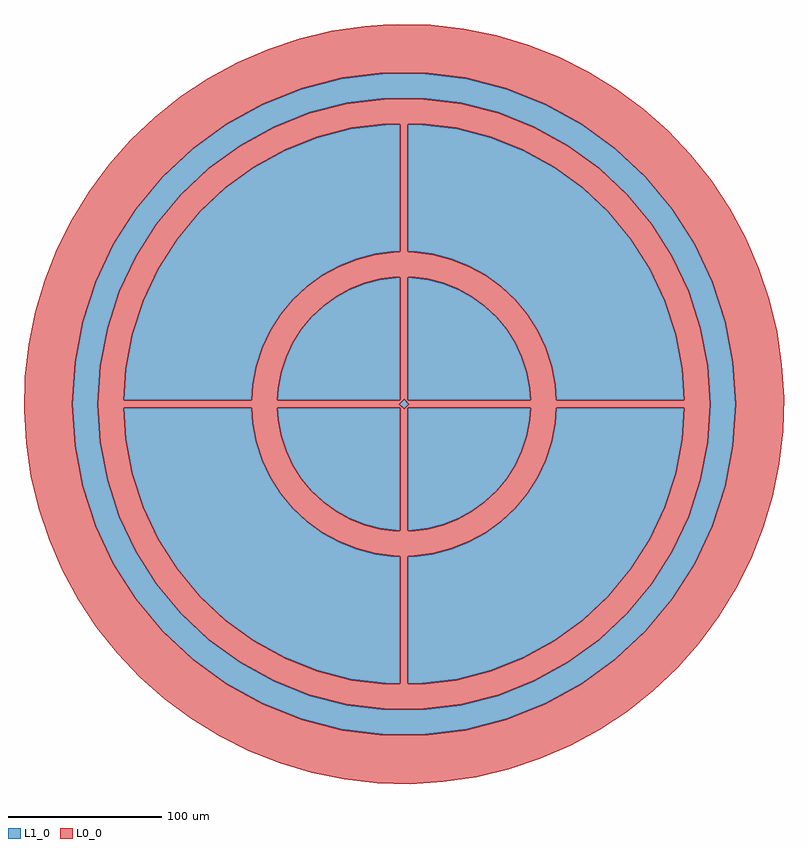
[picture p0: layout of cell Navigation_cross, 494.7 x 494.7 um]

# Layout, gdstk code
import gdstk
lib = gdstk.Library(unit=1e-6, precision=1e-09)
def P(c, l, *ps):  # polygons
    for p in ps: c.add(gdstk.Polygon(p, *l))
L0_0 = (0, 0)
L1_0 = (1, 0)

navigation_cross = lib.new_cell('Navigation_cross')
P(navigation_cross, L0_0, [(-4.161,247.351),(-13.55,246.783),(-13.55,215.374),(13.55,215.374),(40.437,211.978),(66.686,205.238),(91.883,195.262),(115.631,182.206),(137.556,166.277),(157.311,147.725),(174.586,126.844),(189.107,103.962),(200.646,79.441),(209.02,53.667),(214.098,27.047),(215.8,0),(214.098,-27.047),(209.02,-53.667),(200.646,-79.441),(189.107,-103.962),(174.586,-126.844),(157.311,-147.725),(137.556,-166.277),(115.631,-182.206),(91.883,-195.262),(66.686,-205.238),(40.437,-211.978),(13.55,-215.374),(-13.55,-215.374),(-40.437,-211.978),(-66.686,-205.238),(-91.883,-195.262),(-115.631,-182.206),(-137.556,-166.277),(-157.311,-147.725),(-174.586,-126.844),(-189.107,-103.962),(-200.646,-79.441),(-209.02,-53.667),(-214.098,-27.047),(-215.8,0),(-214.098,27.047),(-209.02,53.667),(-200.646,79.441),(-189.107,103.962),(-174.586,126.844),(-157.311,147.725),(-137.556,166.277),(-115.631,182.206),(-91.883,195.262),(-66.686,205.238),(-40.437,211.978),(-13.55,215.374),(-13.55,246.783),(-25.703,246.047),(-47.05,242.871),(-68.038,237.846),(-88.509,231.011),(-108.306,222.418),(-127.279,212.132),(-145.283,200.232),(-162.182,186.807),(-177.846,171.962),(-192.157,155.807),(-205.005,138.466),(-216.293,120.072),(-225.935,100.764),(-233.857,80.689),(-240,60),(-244.316,38.854),(-246.773,17.413),(-247.351,-4.161),(-246.047,-25.703),(-242.871,-47.05),(-237.846,-68.038),(-231.011,-88.509),(-222.418,-108.306),(-212.132,-127.279),(-200.232,-145.283),(-186.807,-162.182),(-171.962,-177.846),(-155.807,-192.157),(-138.466,-205.005),(-120.072,-216.293),(-100.764,-225.935),(-80.689,-233.857),(-60,-240),(-38.854,-244.316),(-17.413,-246.773),(4.161,-247.351),(25.703,-246.047),(47.05,-242.871),(68.038,-237.846),(88.509,-231.011),(108.306,-222.418),(127.279,-212.132),(145.283,-200.232),(162.182,-186.807),(177.846,-171.962),(192.157,-155.807),(205.005,-138.466),(216.293,-120.072),(225.935,-100.764),(233.857,-80.689),(240,-60),(244.316,-38.854),(246.773,-17.413),(247.351,4.161),(246.047,25.703),(242.871,47.05),(237.846,68.038),(231.011,88.509),(222.418,108.306),(212.132,127.279),(200.232,145.283),(186.807,162.182),(171.962,177.846),(155.807,192.157),(138.466,205.005),(120.072,216.293),(100.764,225.935),(80.689,233.857),(60,240),(38.854,244.316),(17.413,246.773)],
  [(12.508,198.807),(2.3,198.807),(2.3,182.24),(11.466,182.24),(34.216,179.366),(56.427,173.663),(77.747,165.221),(97.842,154.174),(116.394,140.696),(133.11,124.998),(147.727,107.33),(160.014,87.968),(169.777,67.22),(176.863,45.411),(181.16,22.886),(182.455,2.3),(99.055,2.3),(99.055,-2.3),(182.455,-2.3),(181.16,-22.886),(176.863,-45.411),(169.777,-67.22),(160.014,-87.968),(147.727,-107.33),(133.11,-124.998),(116.394,-140.696),(97.842,-154.174),(77.747,-165.221),(56.427,-173.663),(34.216,-179.366),(11.466,-182.24),(2.3,-182.24),(2.3,-99.004),(6.229,-99.004),(18.588,-97.443),(30.654,-94.345),(42.237,-89.759),(53.154,-83.757),(63.232,-76.435),(72.314,-67.907),(80.254,-58.308),(86.93,-47.79),(92.234,-36.518),(96.083,-24.67),(98.418,-12.433),(99.055,-2.3),(99.055,2.3),(98.418,12.433),(96.083,24.67),(92.234,36.518),(86.93,47.79),(80.254,58.308),(72.314,67.907),(63.232,76.435),(53.154,83.757),(42.237,89.759),(30.654,94.345),(18.588,97.443),(6.229,99.004),(2.3,99.004),(2.3,82.437),(5.186,82.437),(15.478,81.137),(25.525,78.557),(35.169,74.739),(44.259,69.741),(52.651,63.644),(60.213,56.544),(66.825,48.551),(72.383,39.793),(76.8,30.407),(80.005,20.542),(81.949,10.353),(82.455,2.3),(2.3,2.3),(2.3,198.807),(0,198.807),(0,3.253),(3.253,0),(2.3,-0.953),(2.3,-2.3),(82.455,-2.3),(81.949,-10.353),(80.005,-20.542),(76.8,-30.407),(72.383,-39.793),(66.825,-48.551),(60.213,-56.544),(52.651,-63.644),(44.259,-69.741),(35.169,-74.739),(25.525,-78.557),(15.478,-81.137),(5.186,-82.437),(2.3,-82.437),(2.3,-0.953),(0,-3.253),(-3.253,0),(0,3.253),(0,198.807),(-11.466,198.807),(-11.466,182.24),(-2.3,182.24),(-2.3,99.004),(-5.186,99.004),(-5.186,82.437),(-2.3,82.437),(-2.3,2.3),(-82.455,2.3),(-82.455,-2.3),(-2.3,-2.3),(-2.3,-82.437),(-5.186,-82.437),(-15.478,-81.137),(-25.525,-78.557),(-35.169,-74.739),(-44.259,-69.741),(-52.651,-63.644),(-60.213,-56.544),(-66.825,-48.551),(-72.383,-39.793),(-76.8,-30.407),(-80.005,-20.542),(-81.949,-10.353),(-82.455,-2.3),(-82.455,2.3),(-81.949,10.353),(-80.005,20.542),(-76.8,30.407),(-72.383,39.793),(-66.825,48.551),(-60.213,56.544),(-52.651,63.644),(-44.259,69.741),(-35.169,74.739),(-25.525,78.557),(-15.478,81.137),(-5.186,82.437),(-5.186,99.004),(-6.229,99.004),(-18.588,97.443),(-30.654,94.345),(-42.237,89.759),(-53.154,83.757),(-63.232,76.435),(-72.314,67.907),(-80.254,58.308),(-86.93,47.79),(-92.234,36.518),(-96.083,24.67),(-98.418,12.433),(-99.055,2.3),(-182.455,2.3),(-182.455,-2.3),(-99.055,-2.3),(-98.418,-12.433),(-96.083,-24.67),(-92.234,-36.518),(-86.93,-47.79),(-80.254,-58.308),(-72.314,-67.907),(-63.232,-76.435),(-53.154,-83.757),(-42.237,-89.759),(-30.654,-94.345),(-18.588,-97.443),(-6.229,-99.004),(-2.3,-99.004),(-2.3,-182.24),(-11.466,-182.24),(-34.216,-179.366),(-56.427,-173.663),(-77.747,-165.221),(-97.842,-154.174),(-116.394,-140.696),(-133.11,-124.998),(-147.727,-107.33),(-160.014,-87.968),(-169.777,-67.22),(-176.863,-45.411),(-181.16,-22.886),(-182.455,-2.3),(-182.455,2.3),(-181.16,22.886),(-176.863,45.411),(-169.777,67.22),(-160.014,87.968),(-147.727,107.33),(-133.11,124.998),(-116.394,140.696),(-97.842,154.174),(-77.747,165.221),(-56.427,173.663),(-34.216,179.366),(-11.466,182.24),(-11.466,198.807),(-12.508,198.807),(-37.326,195.672),(-61.556,189.45),(-84.815,180.242),(-106.737,168.19),(-126.975,153.486),(-145.211,136.362),(-161.156,117.087),(-174.56,95.965),(-185.211,73.33),(-192.942,49.539),(-197.629,24.966),(-199.2,0),(-197.629,-24.966),(-192.942,-49.539),(-185.211,-73.33),(-174.56,-95.965),(-161.156,-117.087),(-145.211,-136.362),(-126.975,-153.486),(-106.737,-168.19),(-84.815,-180.242),(-61.556,-189.45),(-37.326,-195.672),(-12.508,-198.807),(12.508,-198.807),(37.326,-195.672),(61.556,-189.45),(84.815,-180.242),(106.737,-168.19),(126.975,-153.486),(145.211,-136.362),(161.156,-117.087),(174.56,-95.965),(185.211,-73.33),(192.942,-49.539),(197.629,-24.966),(199.2,0),(197.629,24.966),(192.942,49.539),(185.211,73.33),(174.56,95.965),(161.156,117.087),(145.211,136.362),(126.975,153.486),(106.737,168.19),(84.815,180.242),(61.556,189.45),(37.326,195.672)])
P(navigation_cross, L1_0, [(-99.055,-2.3),(-182.455,-2.3),(-181.16,-22.886),(-176.863,-45.411),(-169.777,-67.22),(-160.014,-87.968),(-147.727,-107.33),(-133.11,-124.998),(-116.394,-140.696),(-97.842,-154.174),(-77.747,-165.221),(-56.427,-173.663),(-34.216,-179.366),(-11.466,-182.24),(-2.3,-182.24),(-2.3,-99.004),(-6.229,-99.004),(-18.588,-97.443),(-30.654,-94.345),(-42.237,-89.759),(-53.154,-83.757),(-63.232,-76.435),(-72.314,-67.907),(-80.254,-58.308),(-86.93,-47.79),(-92.234,-36.518),(-96.083,-24.67),(-98.418,-12.433)],
  [(-2.3,-2.3),(-82.455,-2.3),(-81.949,-10.353),(-80.005,-20.542),(-76.8,-30.407),(-72.383,-39.793),(-66.825,-48.551),(-60.213,-56.544),(-52.651,-63.644),(-44.259,-69.741),(-35.169,-74.739),(-25.525,-78.557),(-15.478,-81.137),(-5.186,-82.437),(-2.3,-82.437)],
  [(82.455,-2.3),(2.3,-2.3),(2.3,-82.437),(5.186,-82.437),(15.478,-81.137),(25.525,-78.557),(35.169,-74.739),(44.259,-69.741),(52.651,-63.644),(60.213,-56.544),(66.825,-48.551),(72.383,-39.793),(76.8,-30.407),(80.005,-20.542),(81.949,-10.353)],
  [(182.455,-2.3),(99.055,-2.3),(98.418,-12.433),(96.083,-24.67),(92.234,-36.518),(86.93,-47.79),(80.254,-58.308),(72.314,-67.907),(63.232,-76.435),(53.154,-83.757),(42.237,-89.759),(30.654,-94.345),(18.588,-97.443),(6.229,-99.004),(2.3,-99.004),(2.3,-182.24),(11.466,-182.24),(34.216,-179.366),(56.427,-173.663),(77.747,-165.221),(97.842,-154.174),(116.394,-140.696),(133.11,-124.998),(147.727,-107.33),(160.014,-87.968),(169.777,-67.22),(176.863,-45.411),(181.16,-22.886)],
  [(0,3.253),(-3.253,0),(0,-3.253),(3.253,0)],
  [(-2.3,82.437),(-5.186,82.437),(-15.478,81.137),(-25.525,78.557),(-35.169,74.739),(-44.259,69.741),(-52.651,63.644),(-60.213,56.544),(-66.825,48.551),(-72.383,39.793),(-76.8,30.407),(-80.005,20.542),(-81.949,10.353),(-82.455,2.3),(-2.3,2.3)],
  [(5.186,82.437),(2.3,82.437),(2.3,2.3),(82.455,2.3),(81.949,10.353),(80.005,20.542),(76.8,30.407),(72.383,39.793),(66.825,48.551),(60.213,56.544),(52.651,63.644),(44.259,69.741),(35.169,74.739),(25.525,78.557),(15.478,81.137)],
  [(-2.3,182.24),(-11.466,182.24),(-34.216,179.366),(-56.427,173.663),(-77.747,165.221),(-97.842,154.174),(-116.394,140.696),(-133.11,124.998),(-147.727,107.33),(-160.014,87.968),(-169.777,67.22),(-176.863,45.411),(-181.16,22.886),(-182.455,2.3),(-99.055,2.3),(-98.418,12.433),(-96.083,24.67),(-92.234,36.518),(-86.93,47.79),(-80.254,58.308),(-72.314,67.907),(-63.232,76.435),(-53.154,83.757),(-42.237,89.759),(-30.654,94.345),(-18.588,97.443),(-6.229,99.004),(-2.3,99.004)],
  [(11.466,182.24),(2.3,182.24),(2.3,99.004),(6.229,99.004),(18.588,97.443),(30.654,94.345),(42.237,89.759),(53.154,83.757),(63.232,76.435),(72.314,67.907),(80.254,58.308),(86.93,47.79),(92.234,36.518),(96.083,24.67),(98.418,12.433),(99.055,2.3),(182.455,2.3),(181.16,22.886),(176.863,45.411),(169.777,67.22),(160.014,87.968),(147.727,107.33),(133.11,124.998),(116.394,140.696),(97.842,154.174),(77.747,165.221),(56.427,173.663),(34.216,179.366)],
  [(13.55,215.374),(-12.508,215.374),(-12.508,198.807),(12.508,198.807),(37.326,195.672),(61.556,189.45),(84.815,180.242),(106.737,168.19),(126.975,153.486),(145.211,136.362),(161.156,117.087),(174.56,95.965),(185.211,73.33),(192.942,49.539),(197.629,24.966),(199.2,0),(197.629,-24.966),(192.942,-49.539),(185.211,-73.33),(174.56,-95.965),(161.156,-117.087),(145.211,-136.362),(126.975,-153.486),(106.737,-168.19),(84.815,-180.242),(61.556,-189.45),(37.326,-195.672),(12.508,-198.807),(-12.508,-198.807),(-37.326,-195.672),(-61.556,-189.45),(-84.815,-180.242),(-106.737,-168.19),(-126.975,-153.486),(-145.211,-136.362),(-161.156,-117.087),(-174.56,-95.965),(-185.211,-73.33),(-192.942,-49.539),(-197.629,-24.966),(-199.2,0),(-197.629,24.966),(-192.942,49.539),(-185.211,73.33),(-174.56,95.965),(-161.156,117.087),(-145.211,136.362),(-126.975,153.486),(-106.737,168.19),(-84.815,180.242),(-61.556,189.45),(-37.326,195.672),(-12.508,198.807),(-12.508,215.374),(-13.55,215.374),(-40.437,211.978),(-66.686,205.238),(-91.883,195.262),(-115.631,182.206),(-137.556,166.277),(-157.311,147.725),(-174.586,126.844),(-189.107,103.962),(-200.646,79.441),(-209.02,53.667),(-214.098,27.047),(-215.8,0),(-214.098,-27.047),(-209.02,-53.667),(-200.646,-79.441),(-189.107,-103.962),(-174.586,-126.844),(-157.311,-147.725),(-137.556,-166.277),(-115.631,-182.206),(-91.883,-195.262),(-66.686,-205.238),(-40.437,-211.978),(-13.55,-215.374),(13.55,-215.374),(40.437,-211.978),(66.686,-205.238),(91.883,-195.262),(115.631,-182.206),(137.556,-166.277),(157.311,-147.725),(174.586,-126.844),(189.107,-103.962),(200.646,-79.441),(209.02,-53.667),(214.098,-27.047),(215.8,0),(214.098,27.047),(209.02,53.667),(200.646,79.441),(189.107,103.962),(174.586,126.844),(157.311,147.725),(137.556,166.277),(115.631,182.206),(91.883,195.262),(66.686,205.238),(40.437,211.978)])

lib.write_gds('Navigation_cross.gds')
